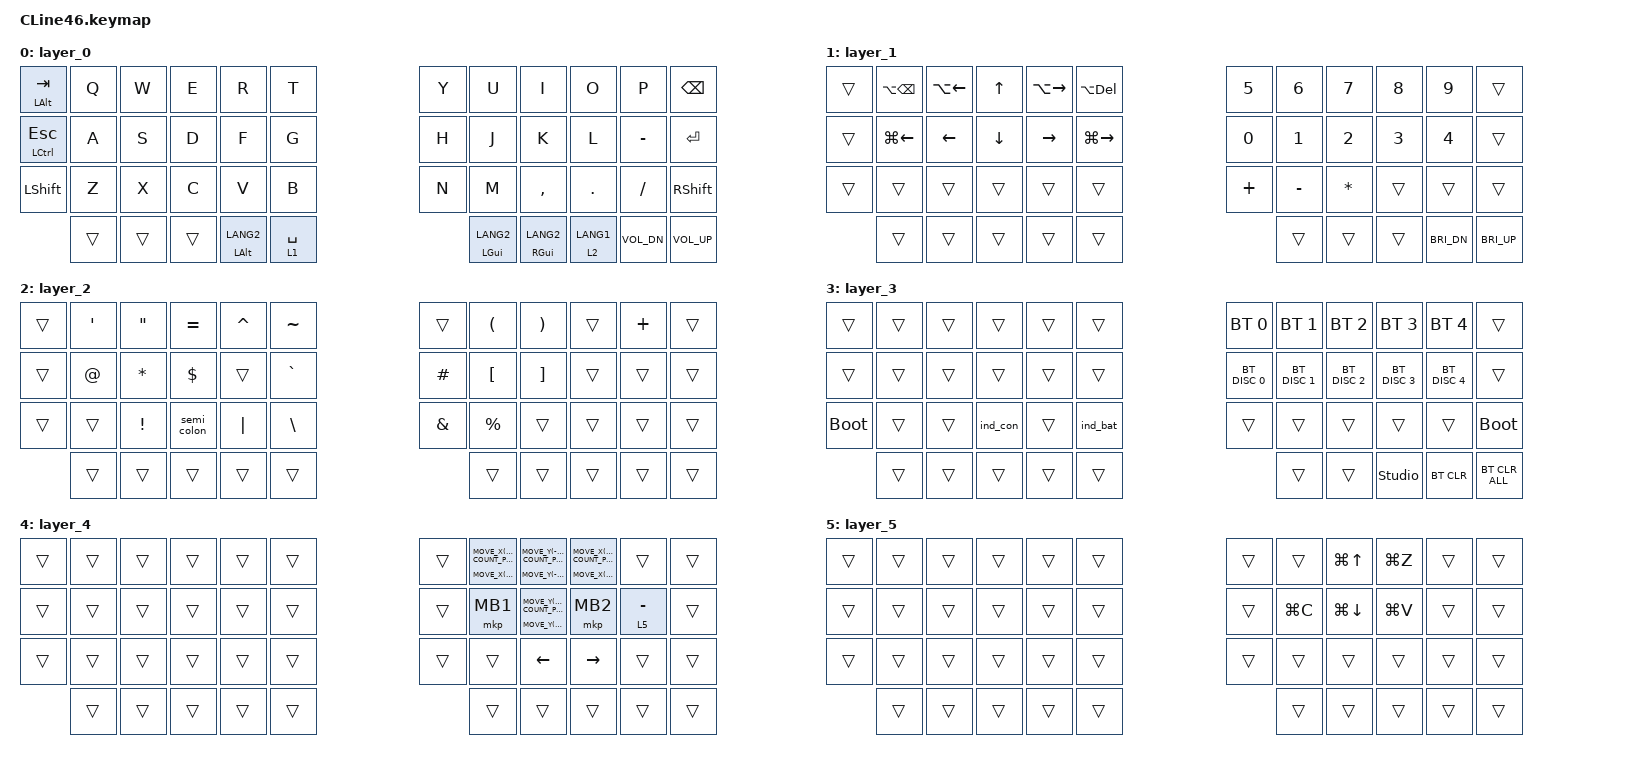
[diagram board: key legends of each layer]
#include <input/processors.dtsi>
#include <dt-bindings/zmk/input_transform.h>
#include <zephyr/dt-bindings/input/input-event-codes.h>
#include <behaviors.dtsi>
#include <dt-bindings/zmk/bt.h>
#include <dt-bindings/zmk/keys.h>
#include <dt-bindings/zmk/pointing.h>
#include <behaviors/rgbled_widget.dtsi>

// スクロールキーの調整
// - タップしたとき: (SCROLL_TAP_INTERVAL × 16)ms おきに SCROLL_TAP_COUNT 回スクロールする
// - ホールドとき: 1秒に SCROLL_HOLD_COUNT_PER_SEC 回スクロールする

// SCROLL_TAP_INTERVAL を上げるとゆっくり滑らかに動き、下げると素早くカクっと動く
// 注意: Mac は素早くスクロールするほど大きく動かすので、値を上げると動きは小さく、下げると動きは大きくなる
#define SCROLL_TAP_INTERVAL 3

// 次の値でスクロール量を調節する
#define SCROLL_TAP_COUNT 4            // タップ
#define SCROLL_HOLD_COUNT_PER_SEC 30  // ホールド

#define SCROLL_TAP_COUNT_PER_SEC (1000 / (16 * SCROLL_TAP_INTERVAL) + 1)
#define SCROLL_KEY_UP     &scroll_key MOVE_Y(SCROLL_HOLD_COUNT_PER_SEC) MOVE_Y(SCROLL_TAP_COUNT_PER_SEC)
#define SCROLL_KEY_DOWN   &scroll_key MOVE_Y(-SCROLL_HOLD_COUNT_PER_SEC) MOVE_Y(-SCROLL_TAP_COUNT_PER_SEC)
#define SCROLL_KEY_RIGHT  &scroll_key MOVE_X(SCROLL_HOLD_COUNT_PER_SEC) MOVE_X(SCROLL_TAP_COUNT_PER_SEC)
#define SCROLL_KEY_LEFT   &scroll_key MOVE_X(-SCROLL_HOLD_COUNT_PER_SEC) MOVE_X(-SCROLL_TAP_COUNT_PER_SEC)

// タップとホールドの判定
// - 200ms 以上押したときにホールドになる
// - 200ms 以内に別のキーが押されてもホールド判定はしない
// - 200ms 以内に素早く長押しするとタップのキーを押し続ける

&mt {
    flavor = "tap-preferred";
    tapping-term-ms = <200>;
    quick-tap-ms = <200>;
};

&lt {
    flavor = "tap-preferred";
    tapping-term-ms = <200>;
    quick-tap-ms = <200>;
};

// 1回押して離すと、次の1キーにだけ効く修飾キー
// - 次のキーを押した時点で修飾キーを離す。速く打っても2文字目には効かない
&sk {
    quick-release;
};

// スクロールしたとき、オートマウスレイヤー（レイヤー4）の残り時間を10秒に戻す
// - レイヤー番号と時間は CLine46_R.overlay の設定とそろえる
&msc_input_listener {
    input-processors = <&zip_temp_layer 4 10000>;
};

/ {
    macros {
        // Shift で送る文字を変えるための macro
        // 先に Shift を外してから、引数のキーを送る
        // 同時に送ると、PC が Shift ありの文字を入力することがある

        unshifted: unshifted {
            compatible = "zmk,behavior-macro-one-param";
            #binding-cells = <1>;
            wait-ms = <0>;
            tap-ms = <0>;
            bindings =
                <&macro_tap>,
                <&kp RSHIFT>,
                <&macro_press>,
                <&macro_param_1to1 &kp MACRO_PLACEHOLDER>,
                <&macro_pause_for_release>,
                <&macro_release>,
                <&macro_param_1to1 &kp MACRO_PLACEHOLDER>;
        };

        // スクロールキーを短く押したときの動き

        scroll_tap: scroll_tap {
            compatible = "zmk,behavior-macro-one-param";
            #binding-cells = <1>;
            wait-ms = <0>;
            tap-ms = <(SCROLL_TAP_COUNT * SCROLL_TAP_INTERVAL * 16 + 8)>;
            bindings =
                <&macro_tap>,
                <&macro_param_1to1 &msc MACRO_PLACEHOLDER>;
        };
    };

    behaviors {
        // スクロールキー
        // - 200ms 以内に離すとタップ、それより長いとホールドになる
        // - ホールドのスクロールは、押してから 200ms たった時点で始まる

        scroll_key: scroll_key {
            compatible = "zmk,behavior-hold-tap";
            #binding-cells = <2>;
            flavor = "tap-preferred";
            tapping-term-ms = <200>;
            bindings = <&msc>, <&scroll_tap>;
        };

        // Ctrl キー。単押しで Esc、ホールドで Ctrl
        // - 200ms 以内に離すとタップ、別のキーを押した時点でホールドになる

        ctrl_esc: ctrl_esc {
            compatible = "zmk,behavior-hold-tap";
            #binding-cells = <2>;
            flavor = "hold-preferred";
            tapping-term-ms = <200>;
            bindings = <&kp>, <&kp>;
        };

        // 文字キーに修飾キーを持たせる設定（例: A を長押しで Ctrl）。単押しで文字、長押しで修飾キー
        // - 200ms 以上押したとき、または押している間に別のキーを押して離したときに、修飾キーになる
        // - 直前のキーを打ってから 150ms 以内に押したときは、文章を打っている途中とみなして必ず文字になる
        // - 1回打ってから 200ms 以内にもう一度押して押し続けると、文字を連続で入力する
        home_mod: home_mod {
            compatible = "zmk,behavior-hold-tap";
            #binding-cells = <2>;
            flavor = "balanced";
            tapping-term-ms = <200>;
            require-prior-idle-ms = <150>;
            quick-tap-ms = <200>;
            bindings = <&kp>, <&kp>;
        };

        // Shift の有無で送る文字を変えるキー。Shift ありのときは Shift を外して送る

        semi_colon: semi_colon {
            compatible = "zmk,behavior-mod-morph";
            #binding-cells = <0>;
            bindings = <&kp COLON>, <&unshifted SEMI>;    // 単押し ':' / Shift ';'
            mods = <(MOD_LSFT|MOD_RSFT)>;
        };

        // マウスレイヤーの - キー。単押しで -、押している間はスクロールレイヤー
        // - 200ms 以内に離すとタップ。押している間に別のキーを押して離したときは、200ms たっていなくてもホールドになる

        minus_scroll: minus_scroll {
            compatible = "zmk,behavior-hold-tap";
            #binding-cells = <2>;
            flavor = "balanced";
            tapping-term-ms = <200>;
            bindings = <&mo>, <&kp>;
        };
    };

    combos {
        compatible = "zmk,combos";

        // 左親指の Space とその右隣を同時に押している間、レイヤー3（設定）に入る
        combo_settings {
            timeout-ms = <50>;
            key-positions = <40 41>;
            bindings = <&mo 3>;
            layers = <0>;
        };

        // マウスレイヤーで J と K を同時に押すと、ブラウザなどで前のページに戻る
        combo_back {
            timeout-ms = <50>;
            key-positions = <19 20>;
            bindings = <&mkp MB4>;
            layers = <4>;
        };

        // マウスレイヤーで K と L を同時に押すと、ブラウザなどで次のページに進む
        combo_forward {
            timeout-ms = <50>;
            key-positions = <20 21>;
            bindings = <&mkp MB5>;
            layers = <4>;
        };

        // マウスレイヤーで U と I を同時に押すと、Cmd+W でタブを閉じる
        combo_close_tab {
            timeout-ms = <50>;
            key-positions = <7 8>;
            bindings = <&kp LG(W)>;
            layers = <4>;
        };

        // マウスレイヤーで I と O を同時に押すと、Cmd+T で新しいタブを開く
        combo_new_tab {
            timeout-ms = <50>;
            key-positions = <8 9>;
            bindings = <&kp LG(T)>;
            layers = <4>;
        };

        // マウスレイヤーで J と K と L を同時に押すと、Mac の範囲指定スクリーンショットをクリップボードにコピーする（Cmd+Ctrl+Shift+4）
        combo_mac_screenshot {
            timeout-ms = <50>;
            key-positions = <19 20 21>;
            bindings = <&kp LG(LC(LS(N4)))>;
            layers = <4>;
        };

        // マウスレイヤーで U と I と O を同時に押すと、Shottr のスクリーンショットを撮る（Cmd+Shift+2）
        combo_shottr_screenshot {
            timeout-ms = <50>;
            key-positions = <7 8 9>;
            bindings = <&kp LG(LS(N2))>;
            layers = <4>;
        };
    };

    keymap {
        compatible = "zmk,keymap";

        // 文字入力
        layer_0 {
            bindings = <
&mt LALT TAB          &kp Q      &kp W       &kp E      &kp R            &kp T                                    &kp Y             &kp U   &kp I       &kp O     &kp P          &kp BSPC
&ctrl_esc LCTRL ESC   &kp A      &kp S      &kp D      &kp F            &kp G                                    &kp H             &kp J   &kp K       &kp L     &kp MINUS      &kp RET
&kp LSHIFT            &kp Z      &kp X       &kp C      &kp V            &kp B                                    &kp N             &kp M   &kp COMMA   &kp DOT   &kp SLASH      &kp RSHIFT
                      &trans      &trans      &trans     &mt LALT LANG2   &lt 1 SPACE   &mt LGUI LANG2  &mt RGUI LANG2   &lt 2 LANG1                                     &kp C_VOL_DN   &kp C_VOL_UP
            >;
        };

        // 数字と移動
        //   右手: 数字（中段 H J K L - が 0〜4、上段 Y U I O P が 5〜9）
        //         演算記号（N + / M - / , *）。. と / は文字入力レイヤーのまま
        //   左手: 矢印
        //   Q: カーソルの左の1単語を削除（Option+Backspace）  T: カーソルの右の1単語を削除（Option+Delete）
        //   右下の2キー: 画面の明るさ
        layer_1 {
            bindings = <
&trans   &kp LA(BSPC)   &kp LA(LEFT)   &kp UP     &kp LA(RIGHT)   &kp LA(DEL)                          &kp N5     &kp N6      &kp N7      &kp N8   &kp N9   &trans
&trans   &kp LG(LEFT)   &kp LEFT       &kp DOWN   &kp RIGHT       &kp LG(RIGHT)                        &kp N0     &kp N1      &kp N2      &kp N3   &kp N4   &trans
&trans   &trans         &trans         &trans     &trans          &trans                               &kp PLUS   &kp MINUS   &kp ASTRK   &trans   &trans   &trans
         &trans         &trans         &trans     &trans          &trans          &trans      &trans   &trans                              &kp C_BRI_DN   &kp C_BRI_UP
            >;
        };

        // 記号
        // 英語の呼び名の頭文字などで位置を決めている
        //   Q ' quote         W " w-quote    E = equal      R ^ raised to the power of   T ~ tilde
        //   A @ at            S * star       D $ dollar     G ` grave
        //   X ! eXclamation   C : colon      V | vertical   B \ backslash
        //   H # hash          N & 'n (and)   M % mod        P + plus
        layer_2 {
            bindings = <
&trans   &kp SQT   &kp DQT     &kp EQUAL     &kp CARET   &kp TILDE                        &trans      &kp LPAR   &kp RPAR   &trans     &kp PLUS    &trans
&trans   &kp AT    &kp ASTRK   &kp DLLR      &trans      &kp GRAVE                        &kp HASH    &kp LBKT   &kp RBKT   &trans     &trans      &trans
&trans   &trans    &kp EXCL    &semi_colon   &kp PIPE    &kp BSLH                         &kp AMPS    &kp PRCNT  &trans     &trans     &trans      &trans
         &trans    &trans      &trans        &trans      &trans      &trans      &trans   &trans                                       &trans      &trans
            >;
        };

        // 設定
        //   上段: Bluetooth の接続先の切り替え
        //   中段: 接続先との切断
        //   右下の2キー: ペアリングの削除
        //   右親指: ZMK Studio のロック解除
        //   shiftの位置: 押した側を書き込み待ちの状態にする（リセットボタンを2回押すのと同じ）
        //   C: Bluetooth の接続状況を LED で表示する（connection）
        //   B: 電池の残量を LED で表示する（battery）
        layer_3 {
            bindings = <
&trans        &trans   &trans   &trans     &trans   &trans                        &bt BT_SEL 0    &bt BT_SEL 1    &bt BT_SEL 2    &bt BT_SEL 3    &bt BT_SEL 4    &trans
&trans        &trans   &trans   &trans     &trans   &trans                        &bt BT_DISC 0   &bt BT_DISC 1   &bt BT_DISC 2   &bt BT_DISC 3   &bt BT_DISC 4   &trans
&bootloader   &trans   &trans   &ind_con   &trans   &ind_bat                      &trans          &trans          &trans          &trans          &trans          &bootloader
              &trans   &trans   &trans     &trans   &trans   &trans    &trans   &studio_unlock                                                  &bt BT_CLR      &bt BT_CLR_ALL
            >;
        };

        // マウス（オートマウスレイヤー）
        // 注意：変更したときは CLine46_R.conf の &zip_temp_layer も一緒に変更する
        //   I: 画面が下にスクロール  K: 画面が上にスクロール
        //   U: 画面が右にスクロール  O: 画面が左にスクロール
        //      ※ Mac の「ナチュラルなスクロール」を有効にしていると、スクロール方向と移動する向きが逆になる
        //   J: 左クリック  L: 右クリック
        //   ,: ←  .: →（YouTube などで動画を巻き戻す・早送りするため）
        //   J と K の同時押し: 戻る  K と L の同時押し: 進む（combos で設定）
        //   U と I の同時押し: タブを閉じる（Cmd+W）  I と O の同時押し: 新しいタブ（Cmd+T）（combos で設定）
        //   J と K と L の同時押し: Mac のスクリーンショット（Cmd+Ctrl+Shift+4）（combos で設定）
        //   U と I と O の同時押し: Shottr のスクリーンショット（Cmd+Shift+2）（combos で設定）
        //   -: 単押しで -、押している間スクロールレイヤー
        layer_4 {
            bindings = <
&trans   &trans   &trans   &trans   &trans   &trans                        &trans           SCROLL_KEY_RIGHT   SCROLL_KEY_DOWN   SCROLL_KEY_LEFT   &trans      &trans
&trans   &trans   &trans   &trans   &trans   &trans                        &trans           &mkp MB1           SCROLL_KEY_UP     &mkp MB2          &minus_scroll 5 MINUS   &trans
&trans   &trans   &trans   &trans   &trans   &trans                        &trans           &trans             &kp LEFT          &kp RIGHT         &trans      &trans
         &trans   &trans   &trans   &trans   &trans   &trans      &trans   &trans                                                                  &trans   &trans
            >;
        };

        // スクロール
        //   入り方: マウスレイヤーで - を押し続ける
        //   入っている間はボールでスクロールする
        //   I: Cmd+↑  K: Cmd+↓（Karabiner でアプリごとのタブ切り替えに変えている）
        //   J: コピー（Cmd+C）  L: ペースト（Cmd+V）
        //   O: 元に戻す（Cmd+Z）
        layer_5 {
            bindings = <
&trans   &trans   &trans   &trans   &trans   &trans                        &trans   &trans           &kp LG(UP)     &kp LG(Z)        &trans   &trans
&trans   &trans   &trans   &trans   &trans   &trans                        &trans   &kp LG(C)        &kp LG(DOWN)   &kp LG(V)        &trans   &trans
&trans   &trans   &trans   &trans   &trans   &trans                        &trans   &trans   &trans   &trans   &trans   &trans
         &trans   &trans   &trans   &trans   &trans   &trans      &trans   &trans                              &trans   &trans
            >;
        };
    };
};
